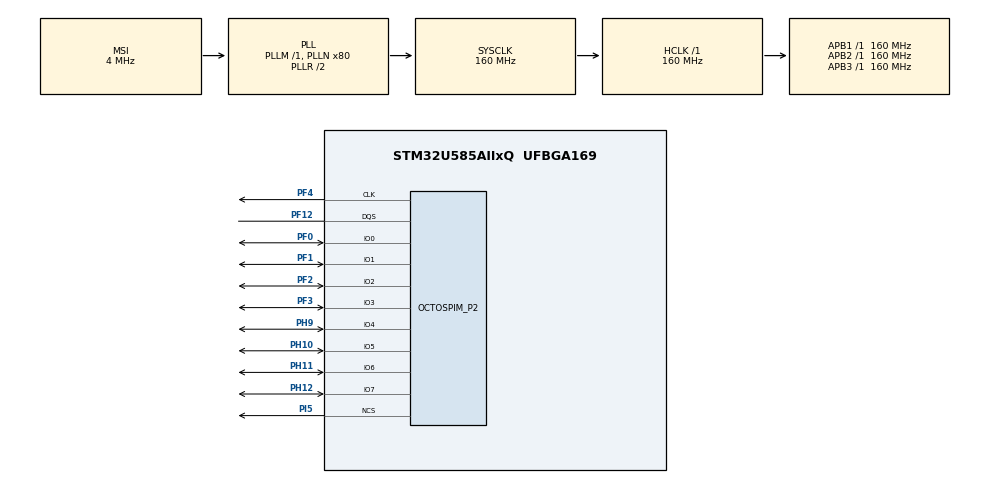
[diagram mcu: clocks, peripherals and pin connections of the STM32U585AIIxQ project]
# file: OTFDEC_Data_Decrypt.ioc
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AES.Algorithm=CRYP_AES_CTR
CORTEX_M33_NS.userName=CORTEX_M33
DCACHE1.DCACHE_Read_Burst_Type=DCACHE_READ_BURST_INCR
Mcu.Family=STM32U5
Mcu.Name=STM32U585AIIxQ
Mcu.Package=UFBGA169
NVIC.OCTOSPI2_IRQn=true\:0\:0\:false\:false\:true\:true\:true\:true
NVIC.OTFDEC2_IRQn=true\:0\:0\:false\:false\:true\:true\:true\:true
NVIC.PriorityGroup=NVIC_PRIORITYGROUP_4
OCTOSPI2.ChipSelectBoundary=0
OCTOSPI2.ChipSelectHighTime=2
OCTOSPI2.ClockPrescaler=4
OCTOSPI2.DelayBlockBypass=HAL_OSPI_DELAY_BLOCK_USED
OCTOSPI2.DeviceSize=26
OCTOSPI2.FifoThreshold=32
OCTOSPI2.MemoryType=HAL_OSPI_MEMTYPE_MACRONIX
PF0.GPIO_Speed_High_Default=GPIO_SPEED_FREQ_HIGH
PF0.Mode=OCTOSPI2_IOL_Port2L
PF0.Signal=OCTOSPIM_P2_IO0
PF1.GPIO_Speed_High_Default=GPIO_SPEED_FREQ_HIGH
PF1.Mode=OCTOSPI2_IOL_Port2L
PF1.Signal=OCTOSPIM_P2_IO1
PF12.GPIO_Speed_High_Default=GPIO_SPEED_FREQ_HIGH
PF12.Mode=OCTOSPI2_Port2_DQS
PF12.Signal=OCTOSPIM_P2_DQS
PF2.GPIO_Speed_High_Default=GPIO_SPEED_FREQ_HIGH
PF2.Mode=OCTOSPI2_IOL_Port2L
PF2.Signal=OCTOSPIM_P2_IO2
PF3.GPIO_Speed_High_Default=GPIO_SPEED_FREQ_HIGH
PF3.Mode=OCTOSPI2_IOL_Port2L
PF3.Signal=OCTOSPIM_P2_IO3
PF4.GPIO_Speed_High_Default=GPIO_SPEED_FREQ_HIGH
PF4.Mode=O2_P2_CLK
PF4.Signal=OCTOSPIM_P2_CLK
PH10.GPIO_Speed_High_Default=GPIO_SPEED_FREQ_HIGH
PH10.Mode=OCTOSPI2_IOH_Port2H
PH10.Signal=OCTOSPIM_P2_IO5
PH11.GPIO_Speed_High_Default=GPIO_SPEED_FREQ_HIGH
PH11.Mode=OCTOSPI2_IOH_Port2H
PH11.Signal=OCTOSPIM_P2_IO6
PH12.GPIO_Speed_High_Default=GPIO_SPEED_FREQ_HIGH
PH12.Mode=OCTOSPI2_IOH_Port2H
PH12.Signal=OCTOSPIM_P2_IO7
PH9.GPIO_Speed_High_Default=GPIO_SPEED_FREQ_HIGH
PH9.Mode=OCTOSPI2_IOH_Port2H
PH9.Signal=OCTOSPIM_P2_IO4
PI5.GPIO_PuPd=GPIO_NOPULL
PI5.GPIO_Speed_High_Default=GPIO_SPEED_FREQ_HIGH
PI5.Mode=OCTOSPI2_Port2_NCS
PI5.Signal=OCTOSPIM_P2_NCS
PWR.PowerMode=PWR_SMPS_SUPPLY
ProjectManager.HeapSize=0x200
ProjectManager.StackSize=0x1000
ProjectManager.TargetToolchain=EWARM V8.50
RCC.ADCFreq_Value=16000000
RCC.AHBFreq_Value=160000000
RCC.APB1Freq_Value=160000000
RCC.APB1TimFreq_Value=160000000
RCC.APB2Freq_Value=160000000
RCC.APB2TimFreq_Value=160000000
RCC.APB3Freq_Value=160000000
RCC.CortexFreq_Value=160000000
RCC.DACCLockSelectionVirtual=RCC_DAC1CLKSOURCE_LSI
RCC.DACCLockSelectionVirtualString=RCC_DAC1CLKSOURCE_LSI
RCC.EPOD_VALUE=4000000
RCC.HCLKFreq_Value=160000000
RCC.HSE_VALUE=16000000
RCC.HSI48_VALUE=48000000
RCC.HSI_VALUE=16000000
RCC.LSE_VALUE=32768
RCC.LSIDIV_VALUE=32000
RCC.MSI_VALUE=4000000
RCC.PLLN=80
RCC.SYSCLKFreq_VALUE=160000000
RCC.SYSCLKSource=RCC_SYSCLKSOURCE_PLLCLK
RCC.USBFreq_Value=48000000
RCC.VCOOutputFreq_Value=320000000
VP_AES_VS_AES.Mode=AES_Activate
VP_DCACHE1_VS_DCACHE.Mode=DCACHE_Activate
VP_ICACHE_VS_ICACHE.Mode=DirectMappedCache
VP_LPBAMQUEUE_VS_QUEUE.Mode=QUEUEMODE
VP_LPBAM_VS_SIG1.Mode=SmartRun
VP_LPBAM_VS_SIG4.Mode=LPDMA1
VP_OCTOSPI2_VS_octo.Mode=octo_mode
VP_OTFDEC2_VS_OTFDEC.Mode=OTFDEC_Activate
VP_PWR_VS_DBSignals.Mode=DisableDeadBatterySignals
VP_PWR_VS_LPOM.Mode=PowerOptimisation
VP_PWR_VS_SECSignals.Mode=Security/Privilege
board=custom

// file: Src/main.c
/* USER CODE BEGIN Header */
/**
  ******************************************************************************
  * @file           : main.c
  * @brief          : Main program body
  ******************************************************************************
  * @attention
  *
  * Copyright (c) 2021 STMicroelectronics.
  * All rights reserved.
  *
  * This software is licensed under terms that can be found in the LICENSE file
  * in the root directory of this software component.
  * If no LICENSE file comes with this software, it is provided AS-IS.
  *
  ******************************************************************************
  */
/* USER CODE END Header */
#include "main.h"

/* USER CODE BEGIN PD */
#define START_ADRESS_OCOTOSPI2                   0x70000000
#define START_ADRESS_OTFDEC2_REGION1             0x70000000
#define END_ADRESS_OTFDEC2_REGION1               0x700003FF
#define VERSION_NUMBER                           4

#define PLAIN_SIZE                               0x100
#define START_ADRESS_WRITING_REGION              0
#define NONCE_NUMBER                             2
/* USER CODE END PD */

CRYP_HandleTypeDef hcryp;
__ALIGN_BEGIN static const uint32_t pKeyAES[4] __ALIGN_END = {
                            0x00000000,0x00000000,0x00000000,0x00000000};
__ALIGN_BEGIN static const uint32_t pInitVectAES[4] __ALIGN_END = {
                            0x00000000,0x00000000,0x00000000,0x00000000};

DCACHE_HandleTypeDef hdcache1;

OSPI_HandleTypeDef hospi2;

OTFDEC_HandleTypeDef hotfdec2;

/* USER CODE BEGIN PV */
OTFDEC_RegionConfigTypeDef Config;
OSPI_MemoryMappedTypeDef sMemMappedCfg;

uint32_t OSPIAddressMode;
uint32_t OSPIDataMode;

__ALIGN_BEGIN uint32_t Cipher[PLAIN_SIZE] __ALIGN_END ;
uint32_t Plain_AES_test[PLAIN_SIZE] = {0};
uint16_t FirmwareVersion[VERSION_NUMBER] = { 0xABBA, 0xA5A5, 0x5A5A,0xF119 };

uint32_t Nonce[NONCE_NUMBER][2]       = {    {0xA5A5A5A5, 0xC3C3C3C3},
                                             {0x11111111, 0x55555555}
                                         };

uint32_t Region1_Range[2] = {START_ADRESS_OTFDEC2_REGION1, END_ADRESS_OTFDEC2_REGION1};

uint32_t Key[4]  = { 0x71234567, 0x89ABCDEF, 0x71234567, 0x89ABCDEF };

uint32_t Plain[PLAIN_SIZE] ={ 0x00, 0x11, 0x22, 0x33, 0x44, 0x55, 0x66, 0x77, 0x88, 0x99, 0xAA, 0xBB, 0xCC, 0xDD, 0xEE, 0xFF,
                              0x00, 0x11, 0x22, 0x33, 0x44, 0x55, 0x66, 0x77, 0x88, 0x99, 0xAA, 0xBB, 0xCC, 0xDD, 0xEE, 0xFF,
                              0x00, 0x11, 0x22, 0x33, 0x44, 0x55, 0x66, 0x77, 0x88, 0x99, 0xAA, 0xBB, 0xCC, 0xDD, 0xEE, 0xFF,
                              0x00, 0x11, 0x22, 0x33, 0x44, 0x55, 0x66, 0x77, 0x88, 0x99, 0xAA, 0xBB, 0xCC, 0xDD, 0xEE, 0xFF,
                            };

/* USER CODE END PV */

void SystemClock_Config(void);
static void SystemPower_Config(void);
static void MX_GPIO_Init(void);
static void MX_ICACHE_Init(void);
static void MX_DCACHE1_Init(void);
static void MX_OCTOSPI2_Init(void);
static void MX_OTFDEC2_Init(void);
static void MX_AES_Init(void);
/* USER CODE BEGIN PFP */
static void CRYP_Cipher(uint32_t index,uint32_t* pRange, uint32_t StartAdressWritingRegion);
static uint32_t OSPI_Write(uint32_t * pBuffer, uint32_t FlashAddress, uint32_t Size);
static uint32_t OSPI_MemoryMap(void);
static void OSPI_ResetMemory(void);
static uint32_t OSPI_Erase(void);
/* USER CODE END PFP */

int main(void)
{

  /* USER CODE BEGIN 1 */
  /* STM32U5xx HAL library initialization:
       - Configure the Flash prefetch
       - Configure the Systick to generate an interrupt each 1 msec
       - Set NVIC Group Priority to 3
       - Low Level Initialization
     */
  /* USER CODE END 1 */

  /* MCU Configuration--------------------------------------------------------*/

  /* Reset of all peripherals, Initializes the Flash interface and the Systick. */
  HAL_Init();

  /* USER CODE BEGIN Init */
  uint32_t i,errorBuffer = 0;
  __IO uint32_t *mem_addr_32;
  /* USER CODE END Init */

  /* Configure the System Power */
  SystemPower_Config();

  /* Configure the system clock */
  SystemClock_Config();

  /* USER CODE BEGIN SysInit */
  /* Configure LED6, LED7 */
  BSP_LED_Init(LED6);
  BSP_LED_Init(LED7);

  /* Turn LED6, LED7 off */
  BSP_LED_Off(LED6);
  BSP_LED_Off(LED7);

  /* Fill Cipher Buffer*/
  for (i=0; i <PLAIN_SIZE; i++)
  {
    Cipher[i] = 0xFF ;
  }
  /* USER CODE END SysInit */

  /* Initialize all configured peripherals */
  MX_GPIO_Init();
  MX_ICACHE_Init();
  MX_DCACHE1_Init();
  MX_OCTOSPI2_Init();
  /* USER CODE BEGIN 2 */
  /* Erase the Flash Memory   */
  OSPI_Erase();

  /* Preload external HyperRAM with ciphred data issued from crypto into dedicated address*/
  CRYP_Cipher(OTFDEC_REGION1,(uint32_t*)Region1_Range,START_ADRESS_WRITING_REGION);
  OSPI_Write( Cipher,START_ADRESS_OTFDEC2_REGION1- START_ADRESS_OCOTOSPI2, PLAIN_SIZE);

  /* Activate memory mapping */
  OSPI_MemoryMap();
    MX_OTFDEC2_Init();
  __HAL_OTFDEC_ENABLE_IT(&hotfdec2, OTFDEC_ALL_INT);

  /* Set OTFDEC Mode */
  if (HAL_OTFDEC_RegionSetMode(&hotfdec2, OTFDEC_REGION1, OTFDEC_REG_MODE_INSTRUCTION_OR_DATA_ACCESSES) != HAL_OK)
  {
    Error_Handler();
  }
  /* Set OTFDEC Key */
  if (HAL_OTFDEC_RegionSetKey(&hotfdec2, OTFDEC_REGION1, Key)  != HAL_OK)
  {
    Error_Handler();
  }

  /* Configure and lock region,enable OTFDEC decryption */
  Config.Nonce[0]     = Nonce[OTFDEC_REGION1/4][0];
  Config.Nonce[1]     = Nonce[OTFDEC_REGION1/4][1];
  Config.StartAddress = START_ADRESS_OTFDEC2_REGION1 ;
  Config.EndAddress   = END_ADRESS_OTFDEC2_REGION1;
  Config.Version      = FirmwareVersion[OTFDEC_REGION1];
  if (HAL_OTFDEC_RegionConfig(&hotfdec2, OTFDEC_REGION1, &Config, OTFDEC_REG_CONFIGR_LOCK_ENABLE) != HAL_OK)
  {
    Error_Handler();
  }

  mem_addr_32= (uint32_t *)START_ADRESS_OTFDEC2_REGION1;

  /* OTFDEC activated, should read decrypted DATA */
  for (uint16_t index = 0; index < PLAIN_SIZE/4; index++)
  {
    if (*mem_addr_32 != Plain[index])
    {
      BSP_LED_On(LED6);
      errorBuffer++;
    }
    mem_addr_32++;
  }
  /* DeInit OTFDEC */
  HAL_OTFDEC_DeInit(&hotfdec2);

  /* DeInit OCTOSPI */
  HAL_OSPI_DeInit(&hospi2);

  if (errorBuffer == 0)
  {
    /* Turn LED7 on */
    BSP_LED_On(LED7);
  }
  /* USER CODE END 2 */

  /* Infinite loop */
  while (1)
  {

  }
}

void SystemClock_Config(void)
{
  RCC_OscInitTypeDef RCC_OscInitStruct = {0};
  RCC_ClkInitTypeDef RCC_ClkInitStruct = {0};

  /** Configure the main internal regulator output voltage
  */
  if (HAL_PWREx_ControlVoltageScaling(PWR_REGULATOR_VOLTAGE_SCALE1) != HAL_OK)
  {
    Error_Handler();
  }

  /** Initializes the CPU, AHB and APB buses clocks
  */
  RCC_OscInitStruct.OscillatorType = RCC_OSCILLATORTYPE_MSI;
  RCC_OscInitStruct.MSIState = RCC_MSI_ON;
  RCC_OscInitStruct.MSICalibrationValue = RCC_MSICALIBRATION_DEFAULT;
  RCC_OscInitStruct.MSIClockRange = RCC_MSIRANGE_4;
  RCC_OscInitStruct.PLL.PLLState = RCC_PLL_ON;
  RCC_OscInitStruct.PLL.PLLSource = RCC_PLLSOURCE_MSI;
  RCC_OscInitStruct.PLL.PLLMBOOST = RCC_PLLMBOOST_DIV1;
  RCC_OscInitStruct.PLL.PLLM = 1;
  RCC_OscInitStruct.PLL.PLLN = 80;
  RCC_OscInitStruct.PLL.PLLP = 2;
  RCC_OscInitStruct.PLL.PLLQ = 2;
  RCC_OscInitStruct.PLL.PLLR = 2;
  RCC_OscInitStruct.PLL.PLLRGE = RCC_PLLVCIRANGE_0;
  RCC_OscInitStruct.PLL.PLLFRACN = 0;
  if (HAL_RCC_OscConfig(&RCC_OscInitStruct) != HAL_OK)
  {
    Error_Handler();
  }

  /** Initializes the CPU, AHB and APB buses clocks
  */
  RCC_ClkInitStruct.ClockType = RCC_CLOCKTYPE_HCLK|RCC_CLOCKTYPE_SYSCLK
                              |RCC_CLOCKTYPE_PCLK1|RCC_CLOCKTYPE_PCLK2
                              |RCC_CLOCKTYPE_PCLK3;
  RCC_ClkInitStruct.SYSCLKSource = RCC_SYSCLKSOURCE_PLLCLK;
  RCC_ClkInitStruct.AHBCLKDivider = RCC_SYSCLK_DIV1;
  RCC_ClkInitStruct.APB1CLKDivider = RCC_HCLK_DIV1;
  RCC_ClkInitStruct.APB2CLKDivider = RCC_HCLK_DIV1;
  RCC_ClkInitStruct.APB3CLKDivider = RCC_HCLK_DIV1;

  if (HAL_RCC_ClockConfig(&RCC_ClkInitStruct, FLASH_LATENCY_4) != HAL_OK)
  {
    Error_Handler();
  }
}

/**
  * @brief Power Configuration
  * @retval None
  */
static void SystemPower_Config(void)
{

  /*
   * Disable the internal Pull-Up in Dead Battery pins of UCPD peripheral
   */
  HAL_PWREx_DisableUCPDDeadBattery();

  /*
   * Switch to SMPS regulator instead of LDO
   */
  if (HAL_PWREx_ConfigSupply(PWR_SMPS_SUPPLY) != HAL_OK)
  {
    Error_Handler();
  }
}

static void MX_AES_Init(void)
{

  hcryp.Instance = AES;
  hcryp.Init.DataType = CRYP_NO_SWAP;
  hcryp.Init.KeySize = CRYP_KEYSIZE_128B;
  hcryp.Init.pKey = (uint32_t *)pKeyAES;
  hcryp.Init.pInitVect = (uint32_t *)pInitVectAES;
  hcryp.Init.Algorithm = CRYP_AES_CTR;
  hcryp.Init.DataWidthUnit = CRYP_DATAWIDTHUNIT_WORD;
  hcryp.Init.HeaderWidthUnit = CRYP_HEADERWIDTHUNIT_WORD;
  hcryp.Init.KeyIVConfigSkip = CRYP_KEYIVCONFIG_ALWAYS;
  hcryp.Init.KeyMode = CRYP_KEYMODE_NORMAL;
  if (HAL_CRYP_Init(&hcryp) != HAL_OK)
  {
    Error_Handler();
  }

}

static void MX_DCACHE1_Init(void)
{

  hdcache1.Instance = DCACHE1;
  hdcache1.Init.ReadBurstType = DCACHE_READ_BURST_INCR;
  if (HAL_DCACHE_Init(&hdcache1) != HAL_OK)
  {
    Error_Handler();
  }

}

static void MX_ICACHE_Init(void)
{

  /** Enable instruction cache in 1-way (direct mapped cache)
  */
  if (HAL_ICACHE_ConfigAssociativityMode(ICACHE_1WAY) != HAL_OK)
  {
    Error_Handler();
  }
  if (HAL_ICACHE_Enable() != HAL_OK)
  {
    Error_Handler();
  }

}

static void MX_OCTOSPI2_Init(void)
{

  /* USER CODE BEGIN OCTOSPI2_Init 0 */
  uint8_t id[20];
  OSPI_RegularCmdTypeDef  sCommand = {0};
  /* USER CODE END OCTOSPI2_Init 0 */

  OSPIM_CfgTypeDef sOspiManagerCfg = {0};
  HAL_OSPI_DLYB_CfgTypeDef HAL_OSPI_DLYB_Cfg_Struct = {0};

  /* OCTOSPI2 parameter configuration*/
  hospi2.Instance = OCTOSPI2;
  hospi2.Init.FifoThreshold = 32;
  hospi2.Init.DualQuad = HAL_OSPI_DUALQUAD_DISABLE;
  hospi2.Init.MemoryType = HAL_OSPI_MEMTYPE_MACRONIX;
  hospi2.Init.DeviceSize = 26;
  hospi2.Init.ChipSelectHighTime = 2;
  hospi2.Init.FreeRunningClock = HAL_OSPI_FREERUNCLK_DISABLE;
  hospi2.Init.ClockMode = HAL_OSPI_CLOCK_MODE_0;
  hospi2.Init.WrapSize = HAL_OSPI_WRAP_NOT_SUPPORTED;
  hospi2.Init.ClockPrescaler = 4;
  hospi2.Init.SampleShifting = HAL_OSPI_SAMPLE_SHIFTING_NONE;
  hospi2.Init.DelayHoldQuarterCycle = HAL_OSPI_DHQC_DISABLE;
  hospi2.Init.ChipSelectBoundary = 0;
  hospi2.Init.DelayBlockBypass = HAL_OSPI_DELAY_BLOCK_USED;
  hospi2.Init.MaxTran = 0;
  hospi2.Init.Refresh = 0;
  if (HAL_OSPI_Init(&hospi2) != HAL_OK)
  {
    Error_Handler();
  }
  sOspiManagerCfg.ClkPort = 2;
  sOspiManagerCfg.DQSPort = 2;
  sOspiManagerCfg.NCSPort = 2;
  sOspiManagerCfg.IOLowPort = HAL_OSPIM_IOPORT_2_LOW;
  sOspiManagerCfg.IOHighPort = HAL_OSPIM_IOPORT_2_HIGH;
  if (HAL_OSPIM_Config(&hospi2, &sOspiManagerCfg, HAL_OSPI_TIMEOUT_DEFAULT_VALUE) != HAL_OK)
  {
    Error_Handler();
  }
  HAL_OSPI_DLYB_Cfg_Struct.Units = 0;
  HAL_OSPI_DLYB_Cfg_Struct.PhaseSel = 0;
  if (HAL_OSPI_DLYB_SetConfig(&hospi2, &HAL_OSPI_DLYB_Cfg_Struct) != HAL_OK)
  {
    Error_Handler();
  }
  /* USER CODE BEGIN OCTOSPI2_Init 2 */
  OSPI_ResetMemory();

  /* Initialize the reset enable command */
  sCommand.OperationType         = HAL_OSPI_OPTYPE_COMMON_CFG;
  sCommand.FlashId               = HAL_OSPI_FLASH_ID_1;
  sCommand.InstructionMode       = HAL_OSPI_INSTRUCTION_1_LINE;
  sCommand.InstructionSize       = HAL_OSPI_INSTRUCTION_8_BITS;
  sCommand.InstructionDtrMode    = HAL_OSPI_INSTRUCTION_DTR_DISABLE;
  sCommand.AddressDtrMode        = HAL_OSPI_ADDRESS_DTR_DISABLE;
  sCommand.AlternateBytes        = 0x00;
  sCommand.AlternateBytesMode    = HAL_OSPI_ALTERNATE_BYTES_NONE;
  sCommand.AlternateBytesSize    = HAL_OSPI_ALTERNATE_BYTES_8_BITS;
  sCommand.AlternateBytesDtrMode = HAL_OSPI_ALTERNATE_BYTES_DTR_DISABLE;
  sCommand.DataDtrMode           = HAL_OSPI_DATA_DTR_DISABLE;
  sCommand.DummyCycles           = 0;
  sCommand.DQSMode               = HAL_OSPI_DQS_DISABLE;
  sCommand.SIOOMode              = HAL_OSPI_SIOO_INST_EVERY_CMD;
  sCommand.Instruction           = READ_ID_CMD;
  sCommand.AddressMode           = HAL_OSPI_ADDRESS_NONE;
  sCommand.NbData                = 20;
  sCommand.DataMode              = HAL_OSPI_DATA_1_LINE;

  if (HAL_OSPI_Command(&hospi2, &sCommand, HAL_OSPI_TIMEOUT_DEFAULT_VALUE) != HAL_OK)
  {
    Error_Handler();
  }

  if (HAL_OSPI_Receive(&hospi2, id, HAL_OSPI_TIMEOUT_DEFAULT_VALUE) != HAL_OK)
  {
    Error_Handler();
  }
  /* USER CODE END OCTOSPI2_Init 2 */

}

static void MX_OTFDEC2_Init(void)
{

  hotfdec2.Instance = OTFDEC2;
  if (HAL_OTFDEC_Init(&hotfdec2) != HAL_OK)
  {
    Error_Handler();
  }

}

static void MX_GPIO_Init(void)
{

  /* GPIO Ports Clock Enable */
  __HAL_RCC_GPIOI_CLK_ENABLE();
  __HAL_RCC_GPIOH_CLK_ENABLE();
  __HAL_RCC_GPIOF_CLK_ENABLE();

}

/* USER CODE BEGIN 4 */
/******************************************************************************/
/*                           OCTOSPI  Helper                                  */
/******************************************************************************/

static uint32_t OSPI_Write(uint32_t * pBuffer, uint32_t FlashAddress, uint32_t Size)
{
  OSPI_RegularCmdTypeDef  sCommand = {0};
  OSPI_AutoPollingTypeDef sConfig  = {0};

  if (Size == 0)
  {
    Error_Handler();
  }

  sConfig.MatchMode              = HAL_OSPI_MATCH_MODE_AND;
  sConfig.AutomaticStop          = HAL_OSPI_AUTOMATIC_STOP_ENABLE;
  sConfig.Interval               = 0x10;

  /* Initialize the command */
  sCommand.OperationType         = HAL_OSPI_OPTYPE_COMMON_CFG;
  sCommand.Instruction           = PAGE_PROG_CMD;
  sCommand.FlashId               = HAL_OSPI_FLASH_ID_1;
  sCommand.InstructionMode       = HAL_OSPI_INSTRUCTION_1_LINE;
  sCommand.InstructionSize       = HAL_OSPI_INSTRUCTION_8_BITS ;
  sCommand.InstructionDtrMode    = HAL_OSPI_INSTRUCTION_DTR_DISABLE;
  sCommand.AddressDtrMode        = HAL_OSPI_ADDRESS_DTR_DISABLE;
  sCommand.AlternateBytes        = 0x00;
  sCommand.AlternateBytesMode    = HAL_OSPI_ALTERNATE_BYTES_NONE;
  sCommand.AlternateBytesSize    = HAL_OSPI_ALTERNATE_BYTES_8_BITS;
  sCommand.AlternateBytesDtrMode = HAL_OSPI_ALTERNATE_BYTES_DTR_DISABLE;
  sCommand.DataDtrMode           = HAL_OSPI_DATA_DTR_DISABLE;
  sCommand.DummyCycles           = 0;
  sCommand.DQSMode               = HAL_OSPI_DQS_DISABLE;
  sCommand.SIOOMode              = HAL_OSPI_SIOO_INST_EVERY_CMD;

  /* 1- Enable write operations ----------------------------------------- */
  sCommand.Instruction = WRITE_ENABLE_CMD;
  sCommand.AddressMode = HAL_OSPI_ADDRESS_NONE;
  sCommand.DataMode    = HAL_OSPI_DATA_NONE;

  if (HAL_OSPI_SetFifoThreshold(&hospi2, 4) != HAL_OK)
  {
    Error_Handler();
  }

  sCommand.Instruction = WRITE_ENABLE_CMD;
  sCommand.AddressMode = HAL_OSPI_ADDRESS_NONE;
  sCommand.DataMode    = HAL_OSPI_DATA_NONE;

  if (HAL_OSPI_Command(&hospi2, &sCommand, HAL_OSPI_TIMEOUT_DEFAULT_VALUE) != HAL_OK)
  {
    Error_Handler();
  }

  /* Configure automatic polling mode to wait for write enabling ---- */
  sConfig.Match           = 0x02;
  sConfig.Mask            = 0x02;

  sCommand.Instruction    = READ_STATUS_REG_CMD;
  sCommand.DataMode       = HAL_OSPI_DATA_1_LINE;
  sCommand.NbData         = 1;

  if (HAL_OSPI_Command(&hospi2, &sCommand, HAL_OSPI_TIMEOUT_DEFAULT_VALUE) != HAL_OK)
  {
    Error_Handler();
  }

  if (HAL_OSPI_AutoPolling(&hospi2, &sConfig,HAL_OSPI_TIMEOUT_DEFAULT_VALUE) != HAL_OK)
  {
    Error_Handler();
  }

  /* Writing Sequence ----------------------------------------------- */
  if (HAL_OSPI_SetFifoThreshold(&hospi2, 4) != HAL_OK)
  {
    Error_Handler();
  }

  sCommand.Instruction = PAGE_PROG_CMD;
  sCommand.AddressMode = HAL_OSPI_ADDRESS_1_LINE;
  sCommand.AddressSize = HAL_OSPI_ADDRESS_24_BITS;
  sCommand.Address     = FlashAddress;
  sCommand.DataMode    = HAL_OSPI_DATA_1_LINE;
  sCommand.NbData      = Size;
  if (HAL_OSPI_Command(&hospi2, &sCommand, HAL_OSPI_TIMEOUT_DEFAULT_VALUE) != HAL_OK)
  {
    Error_Handler();
  }

  if (HAL_OSPI_Transmit(&hospi2,(uint8_t *) pBuffer,HAL_OSPI_TIMEOUT_DEFAULT_VALUE) != HAL_OK)
  {
    Error_Handler();
  }

  /* Configure automatic polling mode to wait for end of program ---- */
  sConfig.Match           = MEMORY_READY_MATCH_VALUE;
  sConfig.Mask            = MEMORY_READY_MASK_VALUE;

  sCommand.Instruction    = READ_STATUS_REG_CMD;
  sCommand.AddressMode    = HAL_OSPI_ADDRESS_NONE;
  sCommand.DataMode       = HAL_OSPI_DATA_1_LINE;
  sCommand.NbData         = 1;

  if (HAL_OSPI_Command(&hospi2, &sCommand, HAL_OSPI_TIMEOUT_DEFAULT_VALUE) != HAL_OK)
  {
    Error_Handler();
  }

  if (HAL_OSPI_AutoPolling(&hospi2, &sConfig,HAL_OSPI_TIMEOUT_DEFAULT_VALUE) != HAL_OK)
  {
    Error_Handler();
  }
  return 0;
}

/**
* @brief  This function set memory mapped mode.
* @param  None
* @retval None
*/
static uint32_t OSPI_MemoryMap(void)
{

  OSPI_RegularCmdTypeDef   sCommand      = {0};
  OSPI_MemoryMappedTypeDef sMemMappedCfg = {0};

  /* Initialize the command */
  sCommand.OperationType         = HAL_OSPI_OPTYPE_COMMON_CFG;
  sCommand.Instruction           = PAGE_PROG_CMD;
  sCommand.FlashId               = HAL_OSPI_FLASH_ID_1;
  sCommand.InstructionMode       = HAL_OSPI_INSTRUCTION_1_LINE;
  sCommand.InstructionSize       = HAL_OSPI_INSTRUCTION_8_BITS ;
  sCommand.InstructionDtrMode    = HAL_OSPI_INSTRUCTION_DTR_DISABLE;
  sCommand.AddressDtrMode        = HAL_OSPI_ADDRESS_DTR_DISABLE;
  sCommand.AlternateBytes        = 0x00;
  sCommand.AlternateBytesMode    = HAL_OSPI_ALTERNATE_BYTES_NONE;
  sCommand.AlternateBytesSize    = HAL_OSPI_ALTERNATE_BYTES_8_BITS;
  sCommand.AlternateBytesDtrMode = HAL_OSPI_ALTERNATE_BYTES_DTR_DISABLE;
  sCommand.DataDtrMode           = HAL_OSPI_DATA_DTR_DISABLE;
  sCommand.DummyCycles           = 0;
  sCommand.DQSMode               = HAL_OSPI_DQS_DISABLE;
  sCommand.SIOOMode              = HAL_OSPI_SIOO_INST_EVERY_CMD;

  if (HAL_OSPI_SetFifoThreshold(&hospi2, 4) != HAL_OK)
  {
    Error_Handler();
  }

  sCommand.OperationType = HAL_OSPI_OPTYPE_WRITE_CFG;
  sCommand.Instruction   = PAGE_PROG_CMD;
  sCommand.AddressMode   = HAL_OSPI_ADDRESS_1_LINE;
  sCommand.AddressSize   = HAL_OSPI_ADDRESS_24_BITS;
  sCommand.DataMode      = HAL_OSPI_DATA_1_LINE;
  sCommand.DummyCycles   = 0;

  if (HAL_OSPI_Command(&hospi2, &sCommand, HAL_OSPI_TIMEOUT_DEFAULT_VALUE) != HAL_OK)
  {
    Error_Handler();
  }

  sCommand.OperationType      = HAL_OSPI_OPTYPE_READ_CFG;
  sCommand.Instruction        = 0x03;
  sCommand.AddressMode        = HAL_OSPI_ADDRESS_1_LINE;
  sCommand.AlternateBytesMode = HAL_OSPI_ALTERNATE_BYTES_NONE;
  sCommand.DataMode           = HAL_OSPI_DATA_1_LINE;
  sCommand.DummyCycles        = 0;

  if (HAL_OSPI_Command(&hospi2, &sCommand, HAL_OSPI_TIMEOUT_DEFAULT_VALUE) != HAL_OK)
  {
    Error_Handler();
  }

  sMemMappedCfg.TimeOutActivation = HAL_OSPI_TIMEOUT_COUNTER_DISABLE;
  sMemMappedCfg.TimeOutPeriod     = 0x20;

  if (HAL_OSPI_MemoryMapped(&hospi2, &sMemMappedCfg))
  {
    Error_Handler();
  }

  return 0;
}

/**
* @brief  This function reset the OSPI memory.
* @param  None
* @retval None
*/
static void OSPI_ResetMemory(void)
{
  OSPI_RegularCmdTypeDef  sCommand = {0};

  /* Initialize the reset enable command */
  sCommand.OperationType         = HAL_OSPI_OPTYPE_COMMON_CFG;
  sCommand.FlashId               = HAL_OSPI_FLASH_ID_1;
  sCommand.InstructionMode       = HAL_OSPI_INSTRUCTION_1_LINE;
  sCommand.InstructionSize       = HAL_OSPI_INSTRUCTION_8_BITS;
  sCommand.InstructionDtrMode    = HAL_OSPI_INSTRUCTION_DTR_DISABLE;
  sCommand.AddressMode           = HAL_OSPI_ADDRESS_NONE;
  sCommand.AlternateBytesMode    = HAL_OSPI_ALTERNATE_BYTES_NONE;
  sCommand.DataDtrMode           = HAL_OSPI_DATA_DTR_DISABLE;
  sCommand.DummyCycles           = 0;
  sCommand.DQSMode               = HAL_OSPI_DQS_DISABLE;
  sCommand.SIOOMode              = HAL_OSPI_SIOO_INST_EVERY_CMD;
  sCommand.DataMode              = HAL_OSPI_DATA_NONE;

  sCommand.Instruction = RESET_ENABLE_CMD;
  /* Send the command */
  if (HAL_OSPI_Command(&hospi2, &sCommand, HAL_OSPI_TIMEOUT_DEFAULT_VALUE) != HAL_OK)
  {
    Error_Handler();
  }

  /* Send the reset memory command */
  sCommand.Instruction = RESET_MEMORY_CMD;
  if (HAL_OSPI_Command(&hospi2, &sCommand, HAL_OSPI_TIMEOUT_DEFAULT_VALUE) != HAL_OK)
  {
    Error_Handler();
  }

  HAL_Delay(40);
}

static uint32_t OSPI_Erase(void)
{
  OSPI_RegularCmdTypeDef  sCommand = {0};
  OSPI_AutoPollingTypeDef sConfig  = {0};

  sConfig.MatchMode              = HAL_OSPI_MATCH_MODE_AND;
  sConfig.AutomaticStop          = HAL_OSPI_AUTOMATIC_STOP_ENABLE;
  sConfig.Interval               = 0x10;

  /* Initialize the command */
  sCommand.OperationType         = HAL_OSPI_OPTYPE_COMMON_CFG;
  sCommand.Instruction           = PAGE_PROG_CMD;
  sCommand.FlashId               = HAL_OSPI_FLASH_ID_1;
  sCommand.InstructionMode       = HAL_OSPI_INSTRUCTION_1_LINE;
  sCommand.InstructionSize       = HAL_OSPI_INSTRUCTION_8_BITS ;
  sCommand.InstructionDtrMode    = HAL_OSPI_INSTRUCTION_DTR_DISABLE;
  sCommand.AddressDtrMode        = HAL_OSPI_ADDRESS_DTR_DISABLE;
  sCommand.AlternateBytes        = 0x00;
  sCommand.AlternateBytesMode    = HAL_OSPI_ALTERNATE_BYTES_NONE;
  sCommand.AlternateBytesSize    = HAL_OSPI_ALTERNATE_BYTES_8_BITS;
  sCommand.AlternateBytesDtrMode = HAL_OSPI_ALTERNATE_BYTES_DTR_DISABLE;
  sCommand.DataDtrMode           = HAL_OSPI_DATA_DTR_DISABLE;
  sCommand.DummyCycles           = 0;
  sCommand.DQSMode               = HAL_OSPI_DQS_DISABLE;
  sCommand.SIOOMode              = HAL_OSPI_SIOO_INST_EVERY_CMD;

  /* 1- Enable write operations ----------------------------------------- */
  sCommand.Instruction = WRITE_ENABLE_CMD;
  sCommand.AddressMode = HAL_OSPI_ADDRESS_NONE;
  sCommand.DataMode    = HAL_OSPI_DATA_NONE;

  if (HAL_OSPI_Command(&hospi2, &sCommand, HAL_OSPI_TIMEOUT_DEFAULT_VALUE) != HAL_OK)
  {
    Error_Handler();
  }

  /* Configure automatic polling mode to wait for write enabling ---- */
  sConfig.Match           = 0x02;
  sConfig.Mask            = 0x02;

  sCommand.Instruction    = READ_STATUS_REG_CMD;
  sCommand.DataMode       = HAL_OSPI_DATA_1_LINE;
  sCommand.NbData         = 1;

  if (HAL_OSPI_Command(&hospi2, &sCommand, HAL_OSPI_TIMEOUT_DEFAULT_VALUE) != HAL_OK)
  {
    Error_Handler();
  }

  if (HAL_OSPI_AutoPolling(&hospi2, &sConfig,HAL_OSPI_TIMEOUT_DEFAULT_VALUE) != HAL_OK)
  {
    Error_Handler();
  }

  /* Erasing Sequence ----------------------------------------------- */

  sCommand.Instruction = BLOCK_ERASE_CMD;
  sCommand.AddressMode = HAL_OSPI_ADDRESS_1_LINE;
  sCommand.AddressSize = HAL_OSPI_ADDRESS_24_BITS;
  sCommand.Address     = 0;
  sCommand.DataMode    = HAL_OSPI_DATA_NONE;
  if (HAL_OSPI_Command(&hospi2, &sCommand, HAL_OSPI_TIMEOUT_DEFAULT_VALUE) != HAL_OK)
  {
    Error_Handler();
  }

  /* Configure automatic polling mode to wait for end of erase ------ */
  sConfig.Match           = MEMORY_READY_MATCH_VALUE;
  sConfig.Mask            = MEMORY_READY_MASK_VALUE;

  sCommand.Instruction    = READ_STATUS_REG_CMD;
  sCommand.AddressMode    = HAL_OSPI_ADDRESS_NONE;
  sCommand.DataMode       = HAL_OSPI_DATA_1_LINE;
  sCommand.NbData         = 1;

  if (HAL_OSPI_Command(&hospi2, &sCommand, HAL_OSPI_TIMEOUT_DEFAULT_VALUE) != HAL_OK)
  {
    Error_Handler();
  }

  if (HAL_OSPI_AutoPolling(&hospi2, &sConfig,HAL_OSPI_TIMEOUT_DEFAULT_VALUE) != HAL_OK)
  {
    Error_Handler();
  }
  return 0;
}

/****************************************************************************/
/*                           Cryp Helper                                    */
/****************************************************************************/

void CRYP_Cipher(uint32_t index,uint32_t* pRange, uint32_t StartAdressWritingRegion)
{
  uint32_t tmp;
  uint32_t AESIV[4] = {0};
  uint32_t  j = 0;
  uint32_t Key_tmp[4]={Key[0],Key[1],Key[2],Key[3]};
  CRYP_ConfigTypeDef AES_Conf = {0};

  tmp       = Key_tmp[0];
  Key_tmp[0] = Key_tmp[3];
  Key_tmp[3] = tmp;
  tmp       = Key_tmp[1];
  Key_tmp[1] = Key_tmp[2];
  Key_tmp[2] = tmp;

  AESIV [3] = ((index%4)<<28) | ((pRange[index*2]+StartAdressWritingRegion)>>4);
  AESIV [2] = FirmwareVersion[index];
  AESIV [1] = Nonce[index/4][0];
  AESIV [0] = Nonce[index/4][1];

  MX_AES_Init();

  HAL_CRYP_GetConfig(&hcryp, &AES_Conf);
  AES_Conf.pKey =  Key_tmp;
  AES_Conf.pInitVect = AESIV;
  HAL_CRYP_SetConfig(&hcryp, &AES_Conf);

  for (j=0; j<(PLAIN_SIZE)/4;j++)
  {
    Plain_AES_test[4*j] = Plain[4*j+3+(StartAdressWritingRegion/4)];
    Plain_AES_test[4*j+3] = Plain[4*j+(StartAdressWritingRegion/4)];
    Plain_AES_test[4*j+1] = Plain[4*j+2+(StartAdressWritingRegion/4)];
    Plain_AES_test[4*j+2] = Plain[4*j+1+(StartAdressWritingRegion/4)] ;
  }
  HAL_CRYP_Encrypt(&hcryp, Plain_AES_test, (PLAIN_SIZE), Cipher, 0x1000);

  for (j=0; j<(PLAIN_SIZE)/4;j++)
  {
    tmp = Cipher[4*j];
    Cipher[4*j] = Cipher[4*j+3];
    Cipher[4*j+3] = tmp;
    tmp = Cipher[4*j+1];
    Cipher[4*j+1] = Cipher[4*j+2];
    Cipher[4*j+2] = tmp;
  }
  HAL_CRYP_DeInit(&hcryp);
}
/* USER CODE END 4 */

void Error_Handler(void)
{
  /* USER CODE BEGIN Error_Handler_Debug */
  /* User can add his own implementation to report the HAL error return state */
  __disable_irq();
  while (1)
  {
    BSP_LED_On(LED6);
    HAL_Delay(500);
  }
  /* USER CODE END Error_Handler_Debug */
}
